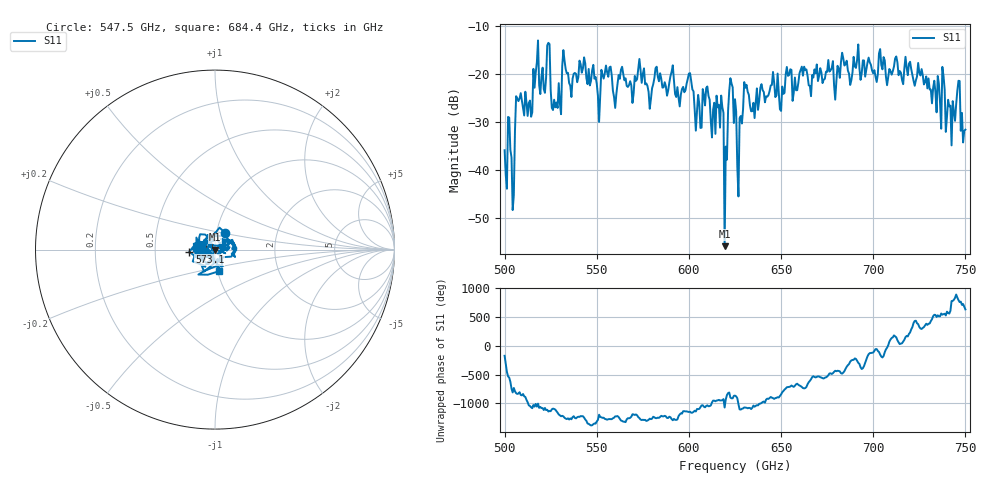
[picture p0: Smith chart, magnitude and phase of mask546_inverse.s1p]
!Created with skrf (http://scikit-rf.org).
# GHz S MA R 50.0
!freq magS11 angS11
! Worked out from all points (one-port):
!   401 points, 500 GHz to 750 GHz, reference 50 ohm
!   lowest |S11| = -55.9 dB at 619.4 GHz (marker M1), VSWR 1.00, Z = 50.2 + j0.0207 ohm
!   |S11| at or under -10 dB: start of sweep to end of sweep
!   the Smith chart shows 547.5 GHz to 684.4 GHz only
!   S11 on the Smith chart (normalised r, x): 547.5 GHz: 1.10, +0.21; 573.1 GHz: 0.75, -0.02; 684.4 GHz: 1.01, -0.25
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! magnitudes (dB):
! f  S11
! 500 GHz  -35.9
! 504.4 GHz  -48.3
! 507.5 GHz  -25.6
! 513.8 GHz  -25.5
! 516.9 GHz  -19.7
! 523.8 GHz  -13.5
! 526.9 GHz  -25.3
! 531.2 GHz  -18.4
! 547.5 GHz  -19.2
! 562.5 GHz  -21.0
! 573.1 GHz  -16.8
! 593.8 GHz  -22.7
! 600 GHz  -19.9
! 616.2 GHz  -26.4
! 619.4 GHz  -55.9
! 620.6 GHz  -37.8
! 622.5 GHz  -20.9
! 625 GHz  -25.2
! 627.5 GHz  -29.2
! 631.2 GHz  -22.2
! 634.4 GHz  -27.7
! 656.2 GHz  -25.6
! 684.4 GHz  -18.2
! 687.5 GHz  -22.3
! 718.8 GHz  -20.2
! 743.1 GHz  -25.6
! 745.6 GHz  -23.5
! 750 GHz  -31.6
